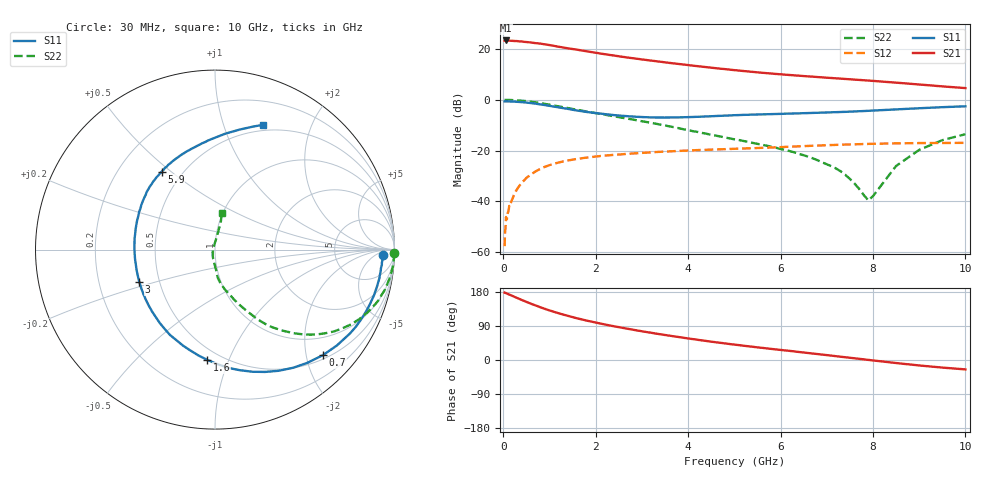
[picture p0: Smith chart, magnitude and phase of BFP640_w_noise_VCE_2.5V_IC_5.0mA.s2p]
! (c) 2013  Infineon Technologies AG, Munich
! Infineon Technologies  Discrete & RF Semiconductors
! BFP640
! VCE =  2.5 V,  IC =  5.0 mA
! Common Emitter S-Parameters:  Apr 2013
# GHz  S  MA  R  50
!  f  S11  S21  S12  S22
! GHz  MAG  ANG  MAG  ANG  MAG  ANG  MAG  ANG
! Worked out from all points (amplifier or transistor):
!   99 points, 30 MHz to 10 GHz, reference 50 ohm
!   highest |S21| = 23.4 dB at 60 MHz (marker M1)
!   |S21| within 3 dB of that: start of sweep to 1.367 GHz
!   unconditionally stable (mu >= 1): 4.993 GHz to end of sweep
!   at 350 MHz: K = 0.07, MSG = 28.5 dB, |S12| = -33.9 dB
!   at 3.5 GHz: K = 0.82, MSG = 17.6 dB, |S12| = -20.4 dB
!   at 10 GHz: K = 1.15, MAG = 8.5 dB, |S12| = -17.0 dB
!   lowest NFmin = 0.54 dB at 450 MHz
!   S11 on the Smith chart (normalised r, x): 30 MHz: 24, -11; 700 MHz: 0.58, -2.33; 1.6 GHz: 0.42, -0.84; 3 GHz: 0.38, -0.17; 5.9 GHz: 0.39, +0.46; 10 GHz: 0.44, +1.37
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0.03  0.9338 -1.9  14.73 177.8  0.0013 79.3  0.9975 -1.1
0.06  0.934 -3.8  14.85 176.3  0.0049 89.0  0.9994 -2.2
0.12  0.9303 -7.8  14.83 173.2  0.007 86.8  0.9961 -4.6
0.4  0.9018 -25.7  14.2 158.5  0.0232 76.5  0.962 -15.2
0.6  0.864 -38.2  13.55 148.5  0.0338 70.2  0.9184 -22.4
0.7  0.8413 -44.3  13.15 144.0  0.0388 66.9  0.8928 -25.7
0.9  0.79 -56.4  12.45 135.0  0.0478 60.6  0.8338 -31.8
1.1  0.7362 -67.8  11.62 127.0  0.055 54.8  0.772 -37.1
1.3  0.6858 -78.4  10.78 119.8  0.0611 50.0  0.7152 -41.5
1.6  0.616 -94.0  9.759 109.9  0.0685 44.0  0.6375 -46.9
1.7  0.5973 -98.8  9.405 107.1  0.0706 42.5  0.6133 -48.4
2.3  0.5118 -126.9  7.708 91.3  0.0809 33.8  0.4911 -56.4
3  0.4585 -157.0  6.274 75.9  0.0899 26.8  0.3789 -63.0
3.4  0.4486 -173.3  5.645 67.9  0.0944 23.4  0.3247 -67.0
4.3  0.4662 156.4  4.522 51.7  0.1027 16.5  0.223 -76.7
5.1  0.5014 137.7  3.785 39.2  0.1091 11.4  0.1612 -83.9
5.9  0.5263 124.4  3.247 28.0  0.1159 7.2  0.1139 -86.9
6.7  0.5528 112.6  2.866 17.0  0.1245 2.3  0.0702 -94.2
7.4  0.5802 101.7  2.585 7.3  0.1313 -2.5  0.0334 -112.8
7.9  0.6084 93.8  2.402 0.3  0.1352 -6.3  0.0104 163.5
8.5  0.6485 84.9  2.186 -8.0  0.1387 -11.0  0.0496 86.2
10  0.7464 68.8  1.707 -24.8  0.1419 -20.0  0.2102 79.4
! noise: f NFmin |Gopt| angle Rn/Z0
0.45  0.54  0.45  12  0.1
0.9  0.56  0.45  21  0.1
1.5  0.59  0.39  33  0.1
1.9  0.64  0.34  51  0.1
2.4  0.69  0.31  58  0.1
3.5  0.84  0.26  84  0.09
5.5  1.1  0.28  -156  0.11
10  1.81  0.63  -65  0.45
